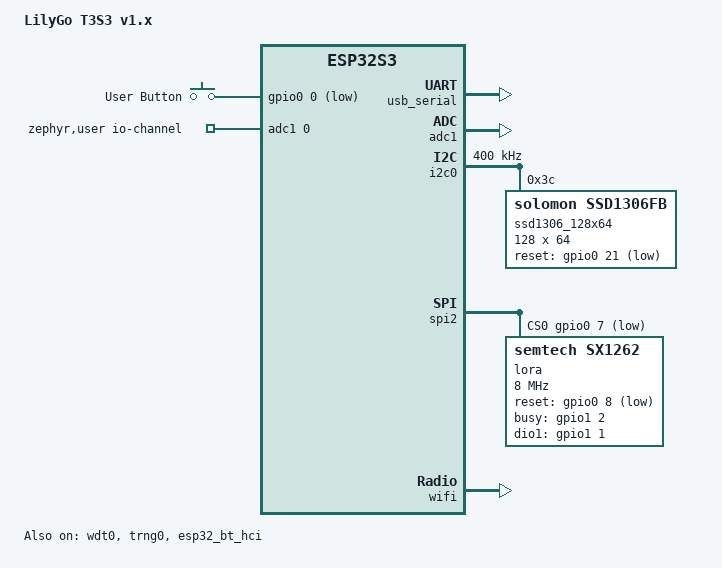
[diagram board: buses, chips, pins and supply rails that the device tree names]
/*
 * SPDX-License-Identifier: MIT
 * LilyGo T3S3 v1.x — ESP32-S3, 8MB flash, 8MB PSRAM
 *
 * Hardware:
 *   MCU:     ESP32-S3 (Xtensa LX7, dual-core @ 240 MHz)
 *   Flash:   8 MB (QIO)
 *   PSRAM:   8 MB (OPI octal, R8 variant)
 *   Radio:   SX1262 on SPI2 (SCK=5, MISO=3, MOSI=6, NSS=7, DIO1=33, BUSY=34, RST=8)
 *   Display: SSD1306 128x64 OLED on I2C0 (SDA=18, SCL=17, RST=21)
 *   Battery: ADC on GPIO1 (100K/100K divider)
 *   Button:  GPIO0
 *   Console: Native USB Serial/JTAG (shared with USB OTG)
 *
 * This DTS defines all fixed hardware. ZephCore integration (partition layout,
 * input chains, USB OTG) goes in board.overlay.
 */

/dts-v1/;

#include <espressif/esp32s3/esp32s3_wroom_n8r8.dtsi>
#include "lilygo_t3s3-pinctrl.dtsi"
#include <espressif/partitions_0x0_default_8M.dtsi>
#include <zephyr/dt-bindings/lora/sx126x.h>
#include <zephyr/dt-bindings/input/input-event-codes.h>

/ {
	model = "LilyGo T3S3 v1.x";
	compatible = "lilygo,t3-s3";

	aliases {
		uart-0 = &uart0;
		i2c-0 = &i2c0;
		lora0 = &lora;
		sw0 = &user_button;
		watchdog0 = &wdt0;
	};

	chosen {
		zephyr,sram = &sram1;
		zephyr,console = &usb_serial;
		zephyr,shell-uart = &usb_serial;
		zephyr,flash = &flash0;
		zephyr,code-partition = &slot0_partition;
		zephyr,bt-hci = &esp32_bt_hci;
	};

	buttons: buttons {
		compatible = "gpio-keys";
		user_button: user_button {
			gpios = <&gpio0 0 GPIO_ACTIVE_LOW>;
			label = "User Button";
			zephyr,code = <INPUT_BTN_0>;
		};
	};

	/* Battery ADC — GPIO1 (ADC1 ch0) with 100K/100K divider = 2:1
	 * Full-scale mV: 3300 * 2 = 6600. ZephCore reads via zephyr,user node. */
	zephyr,user {
		io-channels = <&adc1 0>;
		vbat-mv-multiplier = <6600>;
	};
};

&usb_serial {
	status = "okay";
};

&adc1 {
	status = "okay";
};

&i2c0 {
	status = "okay";
	clock-frequency = <I2C_BITRATE_FAST>;
	pinctrl-0 = <&i2c0_default>;
	pinctrl-names = "default";

	ssd1306_128x64: display-controller@3c {
		compatible = "solomon,ssd1306fb";
		reg = <0x3c>;
		width = <128>;
		height = <64>;
		segment-offset = <0>;
		page-offset = <0>;
		display-offset = <0>;
		multiplex-ratio = <63>;
		segment-remap;
		com-invdir;
		prechargep = <0x22>;
		vcomh = <0x40>;
		reset-gpios = <&gpio0 21 GPIO_ACTIVE_LOW>;  /* GPIO21 OLED RST */
	};
};

/* SX1262 on SPI2 (SCK=GPIO5, MISO=GPIO3, MOSI=GPIO6 — in pinctrl dtsi) */
&spi2 {
	status = "okay";
	#address-cells = <1>;
	#size-cells = <0>;
	pinctrl-0 = <&spim2_default>;
	pinctrl-names = "default";
	cs-gpios = <&gpio0 7 GPIO_ACTIVE_LOW>;  /* GPIO7 NSS */

	lora: lora@0 {
		compatible = "semtech,sx1262";
		reg = <0>;
		spi-max-frequency = <8000000>;

		/* LoRa control pins */
		reset-gpios = <&gpio0 8 GPIO_ACTIVE_LOW>;                    /* GPIO8 */
		busy-gpios  = <&gpio1 2 GPIO_ACTIVE_HIGH>;                   /* GPIO34 */
		dio1-gpios  = <&gpio1 1 (GPIO_PULL_DOWN | GPIO_ACTIVE_HIGH)>; /* GPIO33 */

		/* RF switch: DIO2 drives TX/RX enable (no separate RXEN pin on T3S3) */
		dio2-tx-enable;

		/* TCXO 1.8V via DIO3 */
		dio3-tcxo-voltage = <SX126X_DIO3_TCXO_1V8>;
		tcxo-power-startup-delay-ms = <10>;

		/* RX boosted mode for better sensitivity */
		rx-boosted;
	};
};

&gpio0 { status = "okay"; };
&gpio1 { status = "okay"; };
&wdt0 { status = "okay"; };
&trng0 { status = "okay"; };

&esp32_bt_hci {
	status = "okay";
};

&wifi {
	status = "okay";
};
